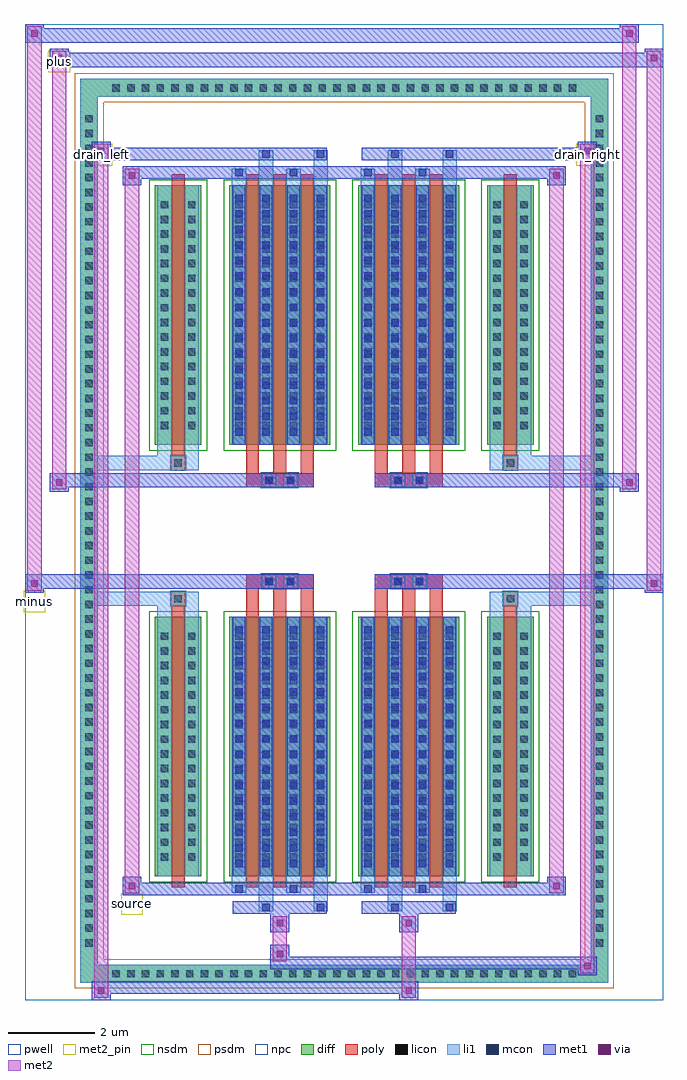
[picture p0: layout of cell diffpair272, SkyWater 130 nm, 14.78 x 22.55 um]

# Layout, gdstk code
import gdstk
lib = gdstk.Library(unit=1e-6, precision=5e-09)
def R(c, l, rs):  # rectangles x0, y0, x1, y1
    for r in rs: c.add(gdstk.rectangle(r[:2], r[2:], *l))
def A(c, l, x, y, w, h, nx, ny, dx, dy):  # array of equal rectangles
    R(c, l, [(x+i*dx, y+j*dy, x+i*dx+w, y+j*dy+h) for i in range(nx) for j in range(ny)])
def P(c, l, *ps):  # polygons
    for p in ps: c.add(gdstk.Polygon(p, *l))
pwell = (64, 44)
diff = (65, 20)
poly = (66, 20)
licon = (66, 44)
li1 = (67, 20)
mcon = (67, 44)
met1 = (68, 20)
via = (68, 44)
met2_pin = (69, 16)
met2 = (69, 20)
nsdm = (93, 44)
psdm = (94, 20)
npc = (95, 20)

diffpair272 = lib.new_cell('diffpair272')
R(diffpair272, pwell, [(-7.37,-10.84,7.37,11.71), (-4.69,-9.03,-0.01,-0.805), (0.01,-9.03,4.69,-0.805), (-4.69,0.805,-0.01,9.03), (0.01,0.805,4.69,9.03)])
A(diffpair272, diff, -5.475, -10.44, 0.41, 0.41, 32, 2, 0.34, 20.47)
A(diffpair272, diff, -6.1, -9.725, 0.41, 0.41, 1, 57, 0, 0.34)
A(diffpair272, diff, 5.69, -9.725, 0.41, 0.41, 1, 57, 0, 0.34)
R(diffpair272, diff, [(-5.475,-10.44,5.475,-10.03), (-6.1,-9.725,-5.69,9.725), (5.69,-9.725,6.1,9.725), (-4.38,-7.985,-3.3,-1.985), (-2.66,-7.985,-0.32,-1.985), (0.32,-7.985,2.66,-1.985), (3.3,-7.985,4.38,-1.985), (-4.38,1.985,-3.3,7.985), (-2.66,1.985,-0.32,7.985), (0.32,1.985,2.66,7.985), (3.3,1.985,4.38,7.985), (-5.475,10.03,5.475,10.44)])
P(diffpair272, diff, [(6.1,10.44),(-6.1,10.44),(-6.1,-10.03),(-5.69,-10.03),(-5.69,10.03),(5.69,10.03),(5.69,-10.03),(-5.69,-10.03),(-6.1,-10.03),(-6.1,-10.44),(6.1,-10.44)])
A(diffpair272, poly, -2.27, -8.235, 0.3, 6.5, 3, 2, 0.63, 9.97)
A(diffpair272, poly, 0.71, -8.235, 0.3, 6.5, 3, 2, 0.63, 9.97)
A(diffpair272, poly, -2.27, -1.735, 0.3, 0.4, 3, 2, 0.63, 3.07)
A(diffpair272, poly, 0.71, -1.735, 0.3, 0.4, 3, 2, 0.63, 3.07)
R(diffpair272, poly, [(-3.99,-8.235,-3.69,-1.735), (3.69,-8.235,3.99,-1.735), (-4.005,-1.735,-3.675,-1.405), (-4.005,-1.735,-3.675,-1.405), (3.675,-1.735,4.005,-1.405), (3.675,-1.735,4.005,-1.405), (-2.27,-1.335,-0.71,-1.005), (-1.905,-1.335,-1.575,-1.005), (-1.405,-1.335,-1.075,-1.005), (0.71,-1.335,2.27,-1.005), (1.075,-1.335,1.405,-1.005), (1.575,-1.335,1.905,-1.005), (-2.27,1.005,-0.71,1.335), (-1.905,1.005,-1.575,1.335), (-1.405,1.005,-1.075,1.335), (0.71,1.005,2.27,1.335), (1.075,1.005,1.405,1.335), (1.575,1.005,1.905,1.335), (-4.005,1.405,-3.675,1.735), (-4.005,1.405,-3.675,1.735), (3.675,1.405,4.005,1.735), (3.675,1.405,4.005,1.735), (-3.99,1.735,-3.69,8.235), (3.69,1.735,3.99,8.235)])
A(diffpair272, licon, -5.355, -10.32, 0.17, 0.17, 32, 2, 0.34, 20.47)
A(diffpair272, licon, -5.98, -9.605, 0.17, 0.17, 1, 57, 0, 0.34)
A(diffpair272, licon, 5.81, -9.605, 0.17, 0.17, 1, 57, 0, 0.34)
A(diffpair272, licon, -4.24, -7.62, 0.17, 0.17, 1, 16, 0, 0.34)
A(diffpair272, licon, -3.61, -7.62, 0.17, 0.17, 1, 16, 0, 0.34)
A(diffpair272, licon, -2.52, -7.62, 0.17, 0.17, 4, 16, 0.63, 0.34)
A(diffpair272, licon, 0.46, -7.62, 0.17, 0.17, 4, 16, 0.63, 0.34)
A(diffpair272, licon, 3.44, -7.62, 0.17, 0.17, 1, 16, 0, 0.34)
A(diffpair272, licon, 4.07, -7.62, 0.17, 0.17, 1, 16, 0, 0.34)
A(diffpair272, licon, -4.24, 2.35, 0.17, 0.17, 1, 16, 0, 0.34)
A(diffpair272, licon, -3.61, 2.35, 0.17, 0.17, 1, 16, 0, 0.34)
A(diffpair272, licon, -2.52, 2.35, 0.17, 0.17, 4, 16, 0.63, 0.34)
A(diffpair272, licon, 0.46, 2.35, 0.17, 0.17, 4, 16, 0.63, 0.34)
A(diffpair272, licon, 3.44, 2.35, 0.17, 0.17, 1, 16, 0, 0.34)
A(diffpair272, licon, 4.07, 2.35, 0.17, 0.17, 1, 16, 0, 0.34)
R(diffpair272, licon, [(-3.925,-1.655,-3.755,-1.485), (3.755,-1.655,3.925,-1.485), (-1.825,-1.255,-1.655,-1.085), (-1.325,-1.255,-1.155,-1.085), (1.155,-1.255,1.325,-1.085), (1.655,-1.255,1.825,-1.085), (-1.825,1.085,-1.655,1.255), (-1.325,1.085,-1.155,1.255), (1.155,1.085,1.325,1.255), (1.655,1.085,1.825,1.255), (-3.925,1.485,-3.755,1.655), (3.755,1.485,3.925,1.655)])
A(diffpair272, li1, -5.435, -10.4, 0.33, 0.33, 32, 2, 0.34, 20.47)
A(diffpair272, li1, -6.06, -9.685, 0.33, 0.33, 1, 57, 0, 0.34)
A(diffpair272, li1, 5.73, -9.685, 0.33, 0.33, 1, 57, 0, 0.34)
A(diffpair272, li1, -2.6, -7.985, 0.33, 6, 4, 2, 0.63, 9.97)
A(diffpair272, li1, 0.38, -7.985, 0.33, 6, 4, 2, 0.63, 9.97)
A(diffpair272, li1, -2.52, -7.77, 0.17, 0.17, 4, 16, 0.63, 0.36)
A(diffpair272, li1, -2.52, -7.77, 0.17, 5.57, 4, 2, 0.63, 9.97)
A(diffpair272, li1, 0.46, -7.77, 0.17, 0.17, 4, 16, 0.63, 0.36)
A(diffpair272, li1, 0.46, -7.77, 0.17, 5.57, 4, 2, 0.63, 9.97)
A(diffpair272, li1, -4.32, -7.7, 0.33, 0.33, 1, 16, 0, 0.34)
A(diffpair272, li1, -3.69, -7.7, 0.33, 0.33, 1, 16, 0, 0.34)
A(diffpair272, li1, -2.6, -7.7, 0.33, 0.33, 4, 16, 0.63, 0.34)
A(diffpair272, li1, 0.38, -7.7, 0.33, 0.33, 4, 16, 0.63, 0.34)
A(diffpair272, li1, 3.36, -7.7, 0.33, 0.33, 1, 16, 0, 0.34)
A(diffpair272, li1, 3.99, -7.7, 0.33, 0.33, 1, 16, 0, 0.34)
A(diffpair272, li1, -2.52, 2.2, 0.17, 0.17, 4, 16, 0.63, 0.36)
A(diffpair272, li1, 0.46, 2.2, 0.17, 0.17, 4, 16, 0.63, 0.36)
A(diffpair272, li1, -4.32, 2.27, 0.33, 0.33, 1, 16, 0, 0.34)
A(diffpair272, li1, -3.69, 2.27, 0.33, 0.33, 1, 16, 0, 0.34)
A(diffpair272, li1, -2.6, 2.27, 0.33, 0.33, 4, 16, 0.63, 0.34)
A(diffpair272, li1, 0.38, 2.27, 0.33, 0.33, 4, 16, 0.63, 0.34)
A(diffpair272, li1, 3.36, 2.27, 0.33, 0.33, 1, 16, 0, 0.34)
A(diffpair272, li1, 3.99, 2.27, 0.33, 0.33, 1, 16, 0, 0.34)
R(diffpair272, li1, [(-6.1,-10.44,-5.69,-10.03), (-6.1,-10.44,-5.69,-10.03), (-5.69,-10.44,5.69,-10.03), (5.69,-10.44,6.1,-10.03), (5.69,-10.44,6.1,-10.03), (-6.1,-10.03,-5.69,10.03), (5.69,-10.03,6.1,10.03), (-1.97,-8.79,-1.64,-7.985), (-1.89,-8.79,-1.72,-8.62), (-0.71,-8.79,-0.38,-7.985), (-0.63,-8.79,-0.46,-8.62), (1.01,-8.79,1.34,-7.985), (1.09,-8.79,1.26,-8.62), (2.27,-8.79,2.6,-7.985), (2.35,-8.79,2.52,-8.62), (-2.6,-8.36,-2.27,-7.985), (-2.52,-8.36,-2.35,-8.19), (-1.34,-8.36,-1.01,-7.985), (-1.26,-8.36,-1.09,-8.19), (0.38,-8.36,0.71,-7.985), (0.46,-8.36,0.63,-8.19), (1.64,-8.36,1.97,-7.985), (1.72,-8.36,1.89,-8.19), (-4.32,-7.985,-3.99,-1.985), (-3.69,-7.985,-3.36,-1.985), (3.36,-7.985,3.69,-1.985), (3.99,-7.985,4.32,-1.985), (-4.32,-1.985,-3.99,-1.405), (-3.69,-1.985,-3.36,-1.405), (3.36,-1.985,3.69,-1.405), (3.99,-1.985,4.32,-1.405), (-6.1,-1.735,-4.005,-1.405), (-4.32,-1.735,-4.005,-1.405), (-4.005,-1.735,-3.675,-1.405), (-3.675,-1.735,-3.36,-1.405), (3.36,-1.735,3.675,-1.405), (3.675,-1.735,4.005,-1.405), (3.675,-1.735,6.1,-1.405), (4.005,-1.735,4.32,-1.405), (-1.905,-1.335,-1.575,-1.005), (-1.405,-1.335,-1.075,-1.005), (1.075,-1.335,1.405,-1.005), (1.575,-1.335,1.905,-1.005), (-1.905,1.005,-1.575,1.335), (-1.405,1.005,-1.075,1.335), (1.075,1.005,1.405,1.335), (1.575,1.005,1.905,1.335), (-6.1,1.405,-4.005,1.735), (-4.32,1.405,-4.005,1.735), (-4.32,1.405,-3.99,1.985), (-4.005,1.405,-3.675,1.735), (-3.69,1.405,-3.36,1.985), (-3.675,1.405,-3.36,1.735), (3.36,1.405,3.675,1.735), (3.36,1.405,3.69,1.985), (3.675,1.405,4.005,1.735), (3.675,1.405,6.1,1.735), (3.99,1.405,4.32,1.985), (4.005,1.405,4.32,1.735), (-4.32,1.985,-3.99,7.985), (-3.69,1.985,-3.36,7.985), (3.36,1.985,3.69,7.985), (3.99,1.985,4.32,7.985), (-2.6,7.985,-2.27,8.36), (-1.97,7.985,-1.64,8.79), (-1.34,7.985,-1.01,8.36), (-0.71,7.985,-0.38,8.79), (0.38,7.985,0.71,8.36), (1.01,7.985,1.34,8.79), (1.64,7.985,1.97,8.36), (2.27,7.985,2.6,8.79), (-2.52,8.19,-2.35,8.36), (-1.26,8.19,-1.09,8.36), (0.46,8.19,0.63,8.36), (1.72,8.19,1.89,8.36), (-1.89,8.62,-1.72,8.79), (-0.63,8.62,-0.46,8.79), (1.09,8.62,1.26,8.79), (2.35,8.62,2.52,8.79), (-6.1,10.03,-5.69,10.44), (-6.1,10.03,-5.69,10.44), (-5.69,10.03,5.69,10.44), (5.69,10.03,6.1,10.44), (5.69,10.03,6.1,10.44)])
A(diffpair272, mcon, -2.52, -7.77, 0.17, 0.17, 4, 16, 0.63, 0.36)
A(diffpair272, mcon, 0.46, -7.77, 0.17, 0.17, 4, 16, 0.63, 0.36)
A(diffpair272, mcon, -2.52, 2.2, 0.17, 0.17, 4, 16, 0.63, 0.36)
A(diffpair272, mcon, 0.46, 2.2, 0.17, 0.17, 4, 16, 0.63, 0.36)
R(diffpair272, mcon, [(-1.89,-8.79,-1.72,-8.62), (-0.63,-8.79,-0.46,-8.62), (1.09,-8.79,1.26,-8.62), (2.35,-8.79,2.52,-8.62), (-2.52,-8.36,-2.35,-8.19), (-1.26,-8.36,-1.09,-8.19), (0.46,-8.36,0.63,-8.19), (1.72,-8.36,1.89,-8.19), (-1.825,-1.255,-1.655,-1.085), (-1.325,-1.255,-1.155,-1.085), (1.155,-1.255,1.325,-1.085), (1.655,-1.255,1.825,-1.085), (-1.825,1.085,-1.655,1.255), (-1.325,1.085,-1.155,1.255), (1.155,1.085,1.325,1.255), (1.655,1.085,1.825,1.255), (-2.52,8.19,-2.35,8.36), (-1.26,8.19,-1.09,8.36), (0.46,8.19,0.63,8.36), (1.72,8.19,1.89,8.36), (-1.89,8.62,-1.72,8.79), (-0.63,8.62,-0.46,8.79), (1.09,8.62,1.26,8.79), (2.35,8.62,2.52,8.79)])
A(diffpair272, met1, -2.58, -7.985, 0.29, 6, 4, 2, 0.63, 9.97)
A(diffpair272, met1, 0.4, -7.985, 0.29, 6, 4, 2, 0.63, 9.97)
A(diffpair272, met1, -2.58, -7.83, 0.29, 0.29, 4, 16, 0.63, 0.36)
A(diffpair272, met1, 0.4, -7.83, 0.29, 0.29, 4, 16, 0.63, 0.36)
A(diffpair272, met1, -2.58, 2.14, 0.29, 0.29, 4, 16, 0.63, 0.36)
A(diffpair272, met1, 0.4, 2.14, 0.29, 0.29, 4, 16, 0.63, 0.36)
R(diffpair272, met1, [(-5.83,-10.84,-5.4,-10.41), (1.275,-10.84,1.705,-10.41), (-5.83,-10.7,1.705,-10.41), (5.4,-10.27,5.83,-9.84), (-1.705,-10.13,5.83,-9.84), (-1.705,-9.99,-1.275,-9.56), (-1.705,-9.28,-1.275,-8.85), (1.275,-9.28,1.705,-8.85), (-2.58,-8.85,-0.4,-8.56), (-1.95,-8.85,-1.66,-8.56), (-0.69,-8.85,-0.4,-8.56), (0.4,-8.85,2.58,-8.56), (1.03,-8.85,1.32,-8.56), (2.29,-8.85,2.58,-8.56), (-5.12,-8.42,-4.69,-7.99), (-5.12,-8.42,-2.58,-8.13), (-2.58,-8.42,-2.29,-8.13), (-2.58,-8.42,-0.4,-8.13), (-1.32,-8.42,-1.03,-8.13), (-0.4,-8.42,0.4,-8.13), (0.4,-8.42,0.69,-8.13), (0.4,-8.42,2.58,-8.13), (1.66,-8.42,1.95,-8.13), (2.58,-8.42,5.12,-8.13), (4.69,-8.42,5.12,-7.99), (-7.37,-1.435,-6.94,-1.005), (6.94,-1.435,7.37,-1.005), (-7.37,-1.335,-0.71,-1.005), (-2.27,-1.335,-0.71,-1.005), (0.71,-1.335,2.27,-1.005), (0.71,-1.335,7.37,-1.005), (-1.885,-1.315,-1.595,-1.025), (-1.385,-1.315,-1.095,-1.025), (1.095,-1.315,1.385,-1.025), (1.595,-1.315,1.885,-1.025), (-6.8,0.905,-6.37,1.335), (6.37,0.905,6.8,1.335), (-6.8,1.005,-2.27,1.335), (-2.27,1.005,-0.71,1.335), (0.71,1.005,2.27,1.335), (2.27,1.005,6.8,1.335), (-1.885,1.025,-1.595,1.315), (-1.385,1.025,-1.095,1.315), (1.095,1.025,1.385,1.315), (1.595,1.025,1.885,1.315), (-5.12,7.99,-4.69,8.42), (4.69,7.99,5.12,8.42), (-5.12,8.13,-2.58,8.42), (-2.58,8.13,-2.29,8.42), (-2.58,8.13,-0.4,8.42), (-1.32,8.13,-1.03,8.42), (-0.4,8.13,0.4,8.42), (0.4,8.13,0.69,8.42), (0.4,8.13,2.58,8.42), (1.66,8.13,1.95,8.42), (2.58,8.13,5.12,8.42), (-5.83,8.56,-5.4,8.99), (-5.83,8.56,-2.58,8.85), (-2.58,8.56,-0.4,8.85), (-1.95,8.56,-1.66,8.85), (-0.69,8.56,-0.4,8.85), (0.4,8.56,2.58,8.85), (1.03,8.56,1.32,8.85), (2.29,8.56,2.58,8.85), (2.58,8.56,5.83,8.85), (5.4,8.56,5.83,8.99), (-6.8,10.71,-6.37,11.14), (-6.8,10.71,-4.69,11.04), (-4.69,10.71,4.69,11.04), (4.69,10.71,7.37,11.04), (6.94,10.71,7.37,11.14), (-7.37,11.28,-6.94,11.71), (-7.37,11.28,-4.69,11.61), (-4.69,11.28,4.69,11.61), (4.69,11.28,6.8,11.61), (6.37,11.28,6.8,11.71)])
R(diffpair272, via, [(-5.69,-10.7,-5.54,-10.55), (1.415,-10.7,1.565,-10.55), (5.54,-10.13,5.69,-9.98), (-1.565,-9.85,-1.415,-9.7), (-1.565,-9.14,-1.415,-8.99), (1.415,-9.14,1.565,-8.99), (-4.98,-8.28,-4.83,-8.13), (4.83,-8.28,4.98,-8.13), (-7.23,-1.295,-7.08,-1.145), (7.08,-1.295,7.23,-1.145), (-6.66,1.045,-6.51,1.195), (6.51,1.045,6.66,1.195), (-4.98,8.13,-4.83,8.28), (4.83,8.13,4.98,8.28), (-5.69,8.7,-5.54,8.85), (5.54,8.7,5.69,8.85), (-6.66,10.85,-6.51,11), (7.08,10.85,7.23,11), (-7.23,11.42,-7.08,11.57), (6.51,11.42,6.66,11.57)])
R(diffpair272, met2_pin, [(-5.155,-8.87,-4.655,-8.37), (-7.405,-1.885,-6.905,-1.385), (-5.865,8.44,-5.365,8.94), (5.365,8.44,5.865,8.94), (-6.835,10.59,-6.335,11.09)])
R(diffpair272, met2, [(-5.78,-10.79,-5.45,-10.46), (-5.78,-10.79,-5.45,8.94), (1.325,-10.79,1.655,-10.46), (1.325,-10.46,1.655,-9.23), (5.45,-10.22,5.78,-9.89), (5.45,-10.22,5.78,8.94), (-1.655,-9.94,-1.325,-9.61), (-1.655,-9.61,-1.325,-9.23), (-1.655,-9.23,-1.325,-8.9), (1.325,-9.23,1.655,-8.9), (-5.07,-8.37,-4.74,-8.04), (-5.07,-8.37,-4.74,8.37), (4.74,-8.37,5.07,-8.04), (4.74,-8.37,5.07,8.37), (-7.32,-1.385,-6.99,-1.055), (-7.32,-1.385,-6.99,11.66), (6.99,-1.385,7.32,-1.055), (6.99,-1.385,7.32,11.09), (-6.75,0.955,-6.42,1.285), (-6.75,0.955,-6.42,11.09), (6.42,0.955,6.75,1.285), (6.42,0.955,6.75,11.66), (-5.07,8.04,-4.74,8.37), (4.74,8.04,5.07,8.37), (-5.78,8.61,-5.45,8.94), (5.45,8.61,5.78,8.94), (-6.75,10.76,-6.42,11.09), (6.99,10.76,7.32,11.09), (-7.32,11.33,-6.99,11.66), (6.42,11.33,6.75,11.66)])
P(diffpair272, met2, [(7.32,-1.385),(7.32,-1.385),(7.32,-1.055),(7.32,-1.055)],
  [(7.32,10.76),(7.32,10.76),(7.32,11.09),(7.32,11.09)],
  [(-6.99,-1.385),(-6.99,-1.385),(-6.99,-1.055),(-6.99,-1.055)],
  [(-6.99,11.33),(-6.99,11.33),(-6.99,11.66),(-6.99,11.66)],
  [(6.75,0.955),(6.75,0.955),(6.75,1.285),(6.75,1.285)],
  [(6.75,11.33),(6.75,11.33),(6.75,11.66),(6.75,11.66)],
  [(-6.42,0.955),(-6.42,0.955),(-6.42,1.285),(-6.42,1.285)],
  [(-6.42,10.76),(-6.42,10.76),(-6.42,11.09),(-6.42,11.09)],
  [(-5.45,-10.79),(-5.45,-10.79),(-5.45,-10.46),(-5.45,-10.46)],
  [(-5.45,8.61),(-5.45,8.61),(-5.45,8.94),(-5.45,8.94)],
  [(5.78,-10.22),(5.78,-10.22),(5.78,-9.89),(5.78,-9.89)],
  [(5.78,8.61),(5.78,8.61),(5.78,8.94),(5.78,8.94)],
  [(-4.74,-8.37),(-4.74,-8.37),(-4.74,-8.04),(-4.74,-8.04)],
  [(-4.74,8.04),(-4.74,8.04),(-4.74,8.37),(-4.74,8.37)],
  [(5.07,-8.37),(5.07,-8.37),(5.07,-8.04),(5.07,-8.04)],
  [(5.07,8.04),(5.07,8.04),(5.07,8.37),(5.07,8.37)])
R(diffpair272, nsdm, [(-4.51,-8.115,-3.17,-1.855), (-2.79,-8.115,-0.19,-1.855), (0.19,-8.115,2.79,-1.855), (3.17,-8.115,4.51,-1.855), (-4.51,1.855,-3.17,8.115), (-2.79,1.855,-0.19,8.115), (0.19,1.855,2.79,8.115), (3.17,1.855,4.51,8.115)])
P(diffpair272, psdm, [(6.23,10.57),(-6.23,10.57),(-6.23,-9.9),(-5.56,-9.9),(-5.56,9.9),(5.56,9.9),(5.56,-9.9),(-5.56,-9.9),(-6.23,-9.9),(-6.23,-10.57),(6.23,-10.57)])
R(diffpair272, npc, [(-4.025,-1.755,-3.655,-1.385), (3.655,-1.755,4.025,-1.385), (-1.925,-1.355,-1.555,-0.985), (-1.925,-1.355,-1.055,-0.985), (-1.925,-1.355,-1.055,-0.985), (-1.425,-1.355,-1.055,-0.985), (1.055,-1.355,1.425,-0.985), (1.055,-1.355,1.925,-0.985), (1.055,-1.355,1.925,-0.985), (1.555,-1.355,1.925,-0.985), (-1.925,0.985,-1.555,1.355), (-1.925,0.985,-1.055,1.355), (-1.925,0.985,-1.055,1.355), (-1.425,0.985,-1.055,1.355), (1.055,0.985,1.425,1.355), (1.055,0.985,1.925,1.355), (1.055,0.985,1.925,1.355), (1.555,0.985,1.925,1.355), (-4.025,1.385,-3.655,1.755), (3.655,1.385,4.025,1.755)])
diffpair272.add(gdstk.Label('minus', (-7.155,-1.635), layer=69, texttype=5))
diffpair272.add(gdstk.Label('drain_right', (5.615,8.69), layer=69, texttype=5))
diffpair272.add(gdstk.Label('drain_left', (-5.615,8.69), layer=69, texttype=5))
diffpair272.add(gdstk.Label('source', (-4.905,-8.62), layer=69, texttype=5))
diffpair272.add(gdstk.Label('plus', (-6.585,10.84), layer=69, texttype=5))

lib.write_gds('diffpair272.gds')
